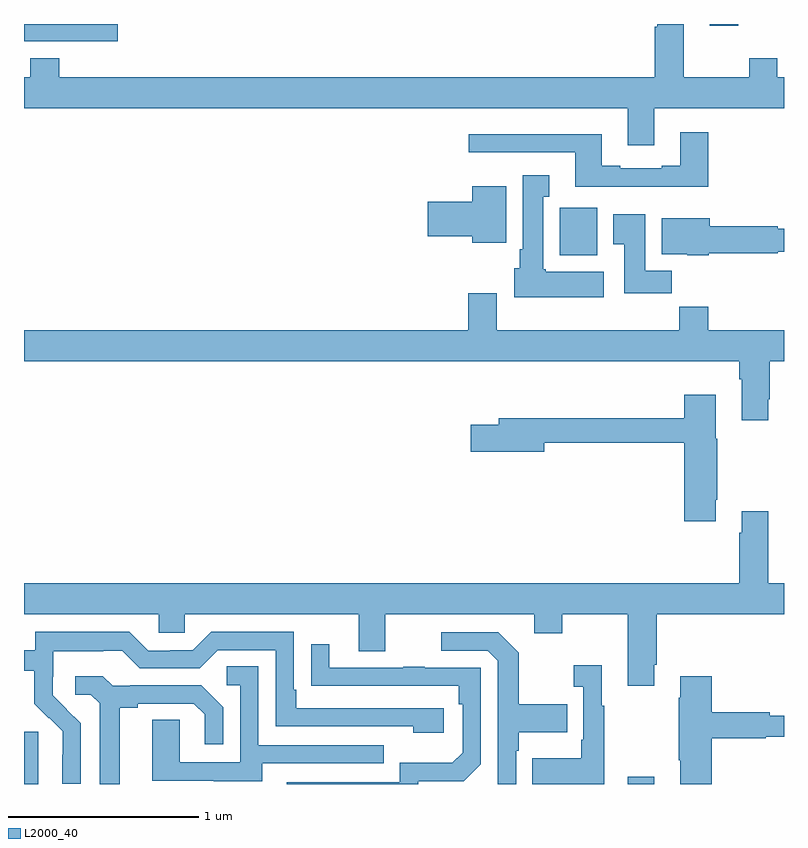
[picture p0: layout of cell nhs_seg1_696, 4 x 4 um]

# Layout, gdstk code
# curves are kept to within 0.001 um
import gdstk
lib = gdstk.Library(unit=1e-6, precision=1e-09)
def R(c, l, rs):  # rectangles x0, y0, x1, y1
    for r in rs: c.add(gdstk.rectangle(r[:2], r[2:], *l))
def P(c, l, *ps):  # polygons
    for p in ps: c.add(gdstk.Polygon(p, *l))
L2000_40 = (2000, 40)

nhs_seg1_696 = lib.new_cell('nhs_seg1_696')
R(nhs_seg1_696, L2000_40, [(149,524.199,149.074,524.475), (152.177,524.199,152.317,524.236), (151.821,526.982,152.017,527.232), (149,528.108,149.494,528.199), (152.609,528.189,152.758,528.199)])
P(nhs_seg1_696, L2000_40, [(152.317,527.756),(153,527.756),(153,527.92),(152.965,527.92),(152.965,528.019),(152.818,528.019),(152.818,527.92),(152.473,527.92),(152.473,528.199),(152.333,528.199),(152.333,528.185),(152.321,528.185),(152.321,527.92),(149.186,527.92),(149.186,528.019),(149.033,528.019),(149.033,527.92),(149,527.92),(149,527.756),(152.177,527.756),(152.177,527.562),(152.317,527.562)],
  [(152.601,527.629),(152.453,527.629),(152.453,527.452),(152.357,527.452),(152.357,527.439),(152.137,527.439),(152.137,527.452),(152.041,527.452),(152.041,527.62),(151.341,527.62),(151.341,527.523),(151.901,527.523),(151.901,527.342),(152.601,527.342)],
  [(152.05,526.894),(151.746,526.894),(151.746,526.908),(151.732,526.908),(151.732,527.291),(151.765,527.291),(151.765,527.404),(151.625,527.404),(151.625,527.014),(151.61,527.014),(151.61,526.914),(151.58,526.914),(151.58,526.76),(152.05,526.76)],
  [(151.537,527.344),(151.358,527.344),(151.358,527.264),(151.125,527.264),(151.125,527.081),(151.358,527.081),(151.358,527.048),(151.537,527.048)],
  [(152.408,526.9),(152.269,526.9),(152.269,527.197),(152.102,527.197),(152.102,527.041),(152.159,527.041),(152.159,526.782),(152.408,526.782)],
  [(152.604,526.993),(152.966,526.993),(152.966,527),(153,527),(153,527.122),(152.966,527.122),(152.966,527.135),(152.608,527.135),(152.608,527.176),(152.357,527.176),(152.357,526.988),(152.49,526.988),(152.49,526.982),(152.604,526.982)],
  [(152.917,526.225),(152.925,526.225),(152.925,526.424),(153,526.424),(153,526.588),(152.601,526.588),(152.601,526.712),(152.449,526.712),(152.449,526.588),(151.489,526.588),(151.489,526.783),(151.337,526.783),(151.337,526.588),(149,526.588),(149,526.424),(152.765,526.424),(152.765,526.328),(152.777,526.328),(152.777,526.113),(152.917,526.113)],
  [(152.641,525.694),(152.649,525.694),(152.649,526.017),(152.641,526.017),(152.641,526.249),(152.474,526.249),(152.474,526.123),(151.499,526.123),(151.499,526.089),(151.35,526.089),(151.35,525.947),(151.738,525.947),(151.738,525.994),(152.474,525.994),(152.474,525.582),(152.641,525.582)],
  [(153,525.256),(152.917,525.256),(152.917,525.634),(152.777,525.634),(152.777,525.521),(152.765,525.521),(152.765,525.256),(149,525.256),(149,525.092),(149.709,525.092),(149.709,524.994),(149.847,524.994),(149.847,525.092),(150.761,525.092),(150.761,524.898),(150.901,524.898),(150.901,525.092),(151.685,525.092),(151.685,524.993),(151.833,524.993),(151.833,525.092),(152.177,525.092),(152.177,524.715),(152.317,524.715),(152.317,524.827),(152.33,524.827),(152.33,525.092),(153,525.092)],
  [(149.298,524.518),(149.152,524.666),(149.152,524.763),(149.154,524.763),(149.154,524.897),(149.417,524.897),(149.417,524.901),(149.517,524.901),(149.61,524.808),(149.925,524.808),(150.021,524.904),(150.324,524.904),(150.324,524.502),(151.049,524.502),(151.049,524.468),(151.21,524.468),(151.21,524.598),(150.433,524.598),(150.433,524.695),(150.42,524.695),(150.42,525),(149.985,525),(149.889,524.904),(149.771,524.904),(149.771,524.901),(149.655,524.901),(149.555,525.001),(149.058,525.001),(149.058,524.904),(149,524.904),(149,524.796),(149.053,524.796),(149.053,524.621),(149.13,524.544),(149.133,524.547),(149.204,524.477),(149.204,524.354),(149.202,524.354),(149.202,524.2),(149.298,524.2)],
  [(151.59,524.375),(151.603,524.375),(151.603,524.471),(151.859,524.471),(151.859,524.619),(151.603,524.619),(151.603,524.891),(151.497,524.997),(151.197,524.997),(151.197,524.901),(151.44,524.901),(151.494,524.847),(151.494,524.199),(151.59,524.199)],
  [(151.074,524.214),(151.314,524.214),(151.404,524.304),(151.404,524.811),(151.109,524.811),(151.109,524.816),(150.997,524.816),(150.997,524.811),(150.607,524.811),(150.607,524.935),(150.511,524.935),(150.511,524.716),(151.288,524.715),(151.288,524.618),(151.308,524.618),(151.308,524.364),(151.255,524.311),(150.978,524.311),(150.978,524.208),(150.383,524.208),(150.383,524.199),(151.074,524.199)],
  [(152.053,524.611),(152.041,524.611),(152.041,524.824),(151.893,524.824),(151.893,524.711),(151.944,524.711),(151.944,524.431),(151.932,524.431),(151.932,524.335),(151.675,524.335),(151.675,524.199),(152.053,524.199)],
  [(150.253,524.307),(150.893,524.307),(150.893,524.403),(150.234,524.403),(150.234,524.819),(150.066,524.819),(150.066,524.718),(150.138,524.718),(150.138,524.313),(149.82,524.313),(149.82,524.537),(149.675,524.537),(149.675,524.217),(149.999,524.217),(149.999,524.213),(150.253,524.213)],
  [(152.621,524.44),(152.904,524.44),(152.904,524.448),(153,524.448),(153,524.557),(152.924,524.557),(152.924,524.576),(152.621,524.576),(152.621,524.767),(152.453,524.767),(152.453,524.654),(152.446,524.654),(152.446,524.323),(152.453,524.323),(152.453,524.199),(152.621,524.199)],
  [(149.503,524.6),(149.599,524.6),(149.599,524.622),(149.894,524.622),(149.951,524.565),(149.951,524.409),(150.048,524.409),(150.048,524.602),(149.932,524.718),(149.56,524.718),(149.56,524.715),(149.466,524.715),(149.414,524.767),(149.271,524.767),(149.271,524.67),(149.352,524.67),(149.399,524.623),(149.399,524.199),(149.503,524.199)])

lib.write_gds('nhs_seg1_696.gds')
